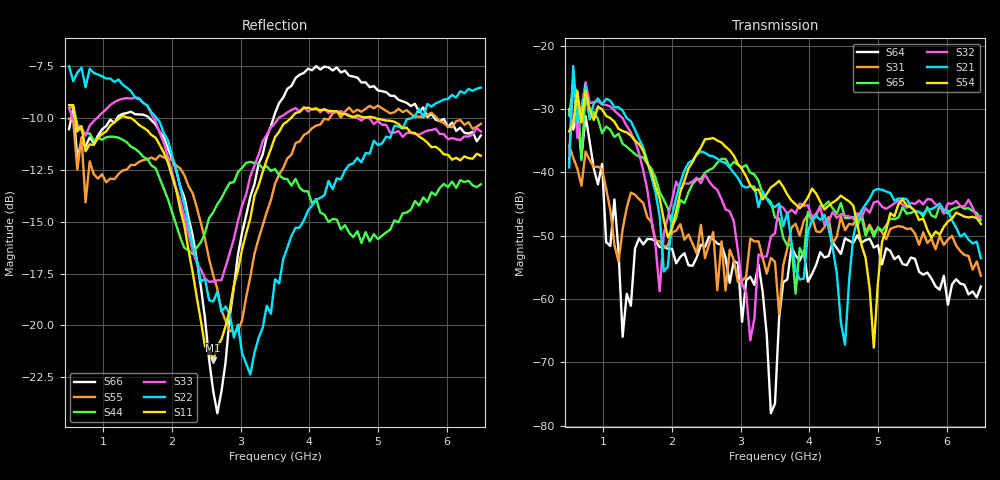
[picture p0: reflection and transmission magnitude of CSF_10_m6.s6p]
!Keysight Technologies,M9804A,MY58100912,A.14.10.03
!Date: Thursday, April 27, 2023 10:28:33
!Correction: S11(C  6-Port  )
!S12(C  6-Port  )
!S13(C  6-Port  )
!S14(C  6-Port  )
!S15(C  6-Port  )
!S16(C  6-Port  )
!S21(C  6-Port  )
!S22(C  6-Port  )
!S23(C  6-Port  )
!S24(C  6-Port  )
!S25(C  6-Port  )
!S26(C  6-Port  )
!S31(C  6-Port  )
!S32(C  6-Port  )
!S33(C  6-Port  )
!S34(C  6-Port  )
!S35(C  6-Port  )
!S36(C  6-Port  )
!S41(C  6-Port  )
!S42(C  6-Port  )
!S43(C  6-Port  )
!S44(C  6-Port  )
!S45(C  6-Port  )
!S46(C  6-Port  )
!S51(C  6-Port  )
!S52(C  6-Port  )
!S53(C  6-Port  )
!S54(C  6-Port  )
!S55(C  6-Port  )
!S56(C  6-Port  )
!S61(C  6-Port  )
!S62(C  6-Port  )
!S63(C  6-Port  )
!S64(C  6-Port  )
!S65(C  6-Port  )
!S66(C  6-Port  )
!S6P File: Measurement: :
# Hz S  RI  R 50
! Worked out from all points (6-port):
!   101 points, 500 MHz to 6.5 GHz, reference 50 ohm
!   strongest paths, dB at 500 MHz, 2 GHz, 3.5 GHz, 5 GHz, 6.5 GHz:
!     S54: -33.5, -48.8, -41.9, -57.4, -48.2
!     S21: -39.2, -46.8, -45.5, -42.6, -53.6
!     S32: -37.9, -44.4, -49.6, -44.6, -47.0
!     S65: -31.0, -48.5, -47.1, -48.7, -47.5
!     S31: -35.8, -49.5, -54.2, -48.8, -56.3
!     S64: -30.1, -52.1, -76.5, -51.5, -58.0
!   lowest |S11| = -21.7 dB at 2.6 GHz (marker M1), VSWR 1.18, Z = 42.7 + j2.11 ohm
!   |S11| at or under -10 dB: 589.6 MHz to 1.236 GHz (646.9 MHz wide, 70.9 % of centre); 1.403 GHz to 3.73 GHz (2.327 GHz wide, 90.7 % of centre); 4.967 GHz to end of sweep
